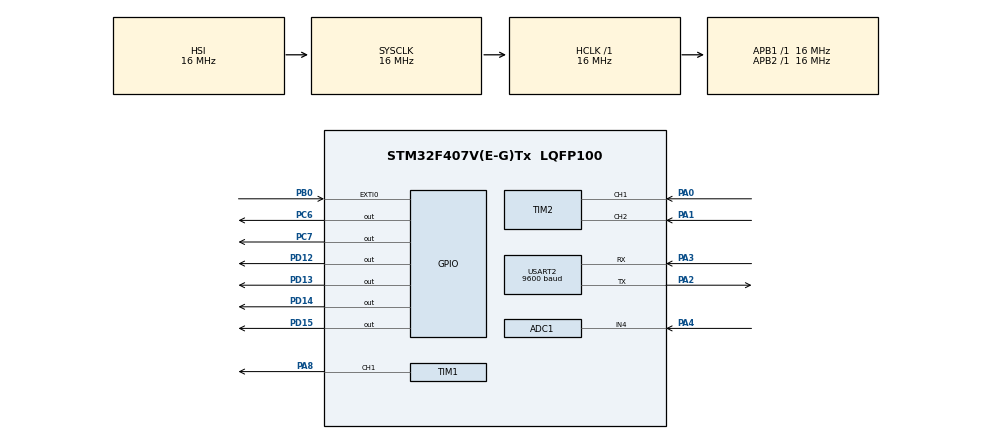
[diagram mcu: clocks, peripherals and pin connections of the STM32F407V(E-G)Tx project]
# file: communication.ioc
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ADC1.Channel-0\#ChannelRegularConversion=ADC_CHANNEL_4
ADC1.ContinuousConvMode=ENABLE
ADC1.NbrOfConversionFlag=1
ADC1.Rank-0\#ChannelRegularConversion=1
ADC1.SamplingTime-0\#ChannelRegularConversion=ADC_SAMPLETIME_144CYCLES
ADC1.master=1
Dma.Request0=USART2_RX
Dma.USART2_RX.0.Direction=DMA_PERIPH_TO_MEMORY
Dma.USART2_RX.0.FIFOMode=DMA_FIFOMODE_DISABLE
Dma.USART2_RX.0.Instance=DMA1_Stream5
Dma.USART2_RX.0.MemDataAlignment=DMA_MDATAALIGN_BYTE
Dma.USART2_RX.0.MemInc=DMA_MINC_ENABLE
Dma.USART2_RX.0.Mode=DMA_NORMAL
Dma.USART2_RX.0.PeriphDataAlignment=DMA_PDATAALIGN_BYTE
Dma.USART2_RX.0.PeriphInc=DMA_PINC_DISABLE
Dma.USART2_RX.0.Priority=DMA_PRIORITY_LOW
Mcu.Family=STM32F4
Mcu.Name=STM32F407V(E-G)Tx
Mcu.Package=LQFP100
NVIC.ADC_IRQn=true\:0\:0\:false\:false\:true\:true\:true\:true
NVIC.DMA1_Stream5_IRQn=true\:0\:0\:false\:false\:true\:false\:true\:true
NVIC.EXTI0_IRQn=true\:2\:0\:true\:false\:true\:true\:true\:true
NVIC.PriorityGroup=NVIC_PRIORITYGROUP_4
NVIC.TIM3_IRQn=true\:1\:0\:true\:false\:true\:true\:true\:true
NVIC.USART2_IRQn=true\:0\:0\:false\:false\:true\:true\:true\:true
PA0-WKUP.Signal=S_TIM2_CH1_ETR
PA1.Signal=S_TIM2_CH2
PA13.Mode=Serial_Wire
PA13.Signal=SYS_JTMS-SWDIO
PA14.Mode=Serial_Wire
PA14.Signal=SYS_JTCK-SWCLK
PA2.Mode=Asynchronous
PA2.Signal=USART2_TX
PA3.Mode=Asynchronous
PA3.Signal=USART2_RX
PA4.Signal=ADCx_IN4
PA8.Signal=S_TIM1_CH1
PB0.GPIO_ModeDefaultEXTI=GPIO_MODE_IT_FALLING
PB0.GPIO_PuPd=GPIO_PULLUP
PB0.Signal=GPXTI0
PC6.GPIO_PuPd=GPIO_PULLUP
PC6.Signal=GPIO_Output
PC7.GPIO_PuPd=GPIO_PULLDOWN
PC7.Signal=GPIO_Output
PD12.Signal=GPIO_Output
PD13.Signal=GPIO_Output
PD14.Signal=GPIO_Output
PD15.Signal=GPIO_Output
PH0-OSC_IN.Mode=HSE-External-Oscillator
PH0-OSC_IN.Signal=RCC_OSC_IN
PH1-OSC_OUT.Mode=HSE-External-Oscillator
PH1-OSC_OUT.Signal=RCC_OSC_OUT
ProjectManager.HeapSize=0x200
ProjectManager.StackSize=0x400
ProjectManager.TargetToolchain=MDK-ARM V5.32
RCC.AHBFreq_Value=16000000
RCC.APB1Freq_Value=16000000
RCC.APB2Freq_Value=16000000
RCC.CortexFreq_Value=16000000
RCC.HSE_VALUE=25000000
RCC.HSI_VALUE=16000000
RCC.LSE_VALUE=32768
RCC.SYSCLKFreq_VALUE=16000000
RCC.VCOOutputFreq_Value=192000000
SH.ADCx_IN4.0=ADC1_IN4,IN4
SH.S_TIM1_CH1.0=TIM1_CH1,PWM Generation1 CH1
SH.S_TIM2_CH1_ETR.0=TIM2_CH1,Encoder_Interface
SH.S_TIM2_CH2.0=TIM2_CH2,Encoder_Interface
TIM1.Channel-PWM\ Generation1\ CH1=TIM_CHANNEL_1
TIM1.Period=999
TIM1.Prescaler=159
TIM1.Pulse-PWM\ Generation1\ CH1=0
TIM2.EncoderMode=TIM_ENCODERMODE_TI12
TIM3.Period=999
TIM3.Prescaler=159
USART2.BaudRate=9600
USART2.VirtualMode=VM_ASYNC
VP_TIM1_VS_ClockSourceINT.Mode=Internal
VP_TIM3_VS_ClockSourceINT.Mode=Internal
board=custom

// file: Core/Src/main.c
/* USER CODE BEGIN Header */
/**
  ******************************************************************************
  * @file           : main.c
  * @brief          : Main program body
  ******************************************************************************
  * @attention
  *
  * Copyright (c) 2023 STMicroelectronics.
  * All rights reserved.
  *
  * This software is licensed under terms that can be found in the LICENSE file
  * in the root directory of this software component.
  * If no LICENSE file comes with this software, it is provided AS-IS.
  *
  ******************************************************************************
  */
/* USER CODE END Header */
#include "main.h"

/* USER CODE BEGIN Includes */
#include "stdlib.h"
#include "string.h"
#include "stdio.h"
#define STX 0x02
#define ETX 0x03

#define EMER 0x06

#define LED15 0X16
#define LED14 0X17
#define LED13 0X18
#define LED12 0X19

uint8_t receive[10] = {0}, transmit[10]= {0};

uint8_t msg[35] = {'\0'};
float data_float ;
uint8_t size = 0;

int16_t encoder_cnt = 0;

float direct = 0; /*0 : thuan ,1: nghich*/
float state =1; //0:on, 1:off

volatile uint16_t duty=0;
volatile uint8_t transmit_count;
//bien test

/* USER CODE END Includes */

ADC_HandleTypeDef hadc1;

TIM_HandleTypeDef htim1;
TIM_HandleTypeDef htim2;
TIM_HandleTypeDef htim3;

UART_HandleTypeDef huart2;
DMA_HandleTypeDef hdma_usart2_rx;

void SystemClock_Config(void);
static void MX_GPIO_Init(void);
static void MX_DMA_Init(void);
static void MX_TIM1_Init(void);
static void MX_TIM2_Init(void);
static void MX_USART2_UART_Init(void);
static void MX_TIM3_Init(void);
static void MX_ADC1_Init(void);
/* USER CODE BEGIN PFP */

void send_data(int CODE, float data)
{

	sprintf((char *)msg,"%3.1f",data);
	for(int i=0;i<sizeof(msg);i++)
  {
		if(msg[i]!=0x00)
		{
		transmit[i] = msg[i];
		}
	}

	HAL_UART_Transmit(&huart2, transmit, 8, 1000);

}
uint8_t data_bytes[4] ={0};
int len=0;
int temp =0;
uint8_t buffer[10] ={0};
void HAL_UARTEx_RxEventCallback(UART_HandleTypeDef *huart, uint16_t Size)
{

		if(huart->Instance== huart2.Instance)
		{

		HAL_UARTEx_ReceiveToIdle_DMA(&huart2, receive, 10);
		size = Size;

		len = strlen((char *)receive);
		int index=0;
		int position =0;
		for (int i=0; i < len; i++)
		{
			 if (receive[i] == ETX)
			{
				index ++;
				if (index == 1)
				{
				position = i;
				break;
				}
			}
		}

		for (int j=0; j<=position; j++)
		buffer[j]=receive[j];
		if(buffer[0]==STX & buffer[position]==ETX)
		{

			for (int j=0; j<=position-3;j++)
			data_bytes[j]=buffer[j+2];

			data_float = (float)atof((char *)data_bytes);

			switch (buffer[1])
			{
				case LED12:
				{
				if(data_float == 0)
				{
					HAL_GPIO_WritePin(GPIOD, GPIO_PIN_12, 0);
					break;
				}
				else
				{
					HAL_GPIO_WritePin(GPIOD, GPIO_PIN_12, 1);
					break;
				}
				}
				case LED13:
				{
				if(data_float == 0)
				{
					HAL_GPIO_WritePin(GPIOD, GPIO_PIN_13, 0);
					break;
				}
				else
				{
					HAL_GPIO_WritePin(GPIOD, GPIO_PIN_13, 1);
					break;
				}
				}
				case LED14:
				{
				if(data_float == 0)
				{
					HAL_GPIO_WritePin(GPIOD, GPIO_PIN_14, 0);
					break;
				}
				else
				{
					HAL_GPIO_WritePin(GPIOD, GPIO_PIN_14, 1);
					break;
				}
				}
				case LED15:
				{
				if(data_float == 0)
				{
					HAL_GPIO_WritePin(GPIOD, GPIO_PIN_15, 0);
					break;
				}
				else
				{
					HAL_GPIO_WritePin(GPIOD, GPIO_PIN_15, 1);
					break;
				}
				}
			}
		}
		if (temp%2==0)
		{
			HAL_UART_Transmit(&huart2, buffer, 8, 1000);
		}
		temp= ~temp;
		}

}
uint16_t adc_value = 0;
float voltage;
uint8_t data_voltage[20];
void HAL_TIM_PeriodElapsedCallback(TIM_HandleTypeDef *htim)
{
  if(htim->Instance== TIM3)
	{
		adc_value = HAL_ADC_GetValue(&hadc1);
		voltage = (float)adc_value/4095 * 3;
		sprintf(&data_voltage[0], "%4.2f", voltage);
		HAL_UART_Transmit(&huart2,&data_voltage[0], 8, 100);
	}
}

void HAL_GPIO_EXTI_Callback(uint16_t GPIO_Pin)
{
	uint8_t buffer[10] ={0};
	buffer[0] = EMER;
	HAL_UART_Transmit(&huart2, buffer, 8, 1000);
  //Chong rung phim
	for(int i = 100000; i>0; i--);

}

/* USER CODE END PFP */

int main(void)
{

  /* MCU Configuration--------------------------------------------------------*/

  /* Reset of all peripherals, Initializes the Flash interface and the Systick. */
  HAL_Init();

  /* Configure the system clock */
  SystemClock_Config();

  /* Initialize all configured peripherals */
  MX_GPIO_Init();
  MX_DMA_Init();
  MX_TIM1_Init();
  MX_TIM2_Init();
  MX_USART2_UART_Init();
  MX_TIM3_Init();
  MX_ADC1_Init();
  /* USER CODE BEGIN 2 */

	HAL_UARTEx_ReceiveToIdle_DMA(&huart2, receive, 10);
   __HAL_DMA_DISABLE_IT(&hdma_usart2_rx, DMA_IT_HT);

	HAL_TIM_Base_Start_IT(&htim3);

  /* USER CODE END 2 */

  /* Infinite loop */
  /* USER CODE BEGIN WHILE */
  while (1)
  {
		HAL_ADC_Start(&hadc1);
    /* USER CODE END WHILE */

  }
}

void HAL_ADC_ConvCpltCallback(ADC_HandleTypeDef* hadc)
{
	if(hadc->Instance == hadc1.Instance)
	{

	}
}

void SystemClock_Config(void)
{
  RCC_OscInitTypeDef RCC_OscInitStruct = {0};
  RCC_ClkInitTypeDef RCC_ClkInitStruct = {0};

  /** Configure the main internal regulator output voltage
  */
  __HAL_RCC_PWR_CLK_ENABLE();
  __HAL_PWR_VOLTAGESCALING_CONFIG(PWR_REGULATOR_VOLTAGE_SCALE1);

  /** Initializes the RCC Oscillators according to the specified parameters
  * in the RCC_OscInitTypeDef structure.
  */
  RCC_OscInitStruct.OscillatorType = RCC_OSCILLATORTYPE_HSI;
  RCC_OscInitStruct.HSIState = RCC_HSI_ON;
  RCC_OscInitStruct.HSICalibrationValue = RCC_HSICALIBRATION_DEFAULT;
  RCC_OscInitStruct.PLL.PLLState = RCC_PLL_NONE;
  if (HAL_RCC_OscConfig(&RCC_OscInitStruct) != HAL_OK)
  {
    Error_Handler();
  }

  /** Initializes the CPU, AHB and APB buses clocks
  */
  RCC_ClkInitStruct.ClockType = RCC_CLOCKTYPE_HCLK|RCC_CLOCKTYPE_SYSCLK
                              |RCC_CLOCKTYPE_PCLK1|RCC_CLOCKTYPE_PCLK2;
  RCC_ClkInitStruct.SYSCLKSource = RCC_SYSCLKSOURCE_HSI;
  RCC_ClkInitStruct.AHBCLKDivider = RCC_SYSCLK_DIV1;
  RCC_ClkInitStruct.APB1CLKDivider = RCC_HCLK_DIV1;
  RCC_ClkInitStruct.APB2CLKDivider = RCC_HCLK_DIV1;

  if (HAL_RCC_ClockConfig(&RCC_ClkInitStruct, FLASH_LATENCY_0) != HAL_OK)
  {
    Error_Handler();
  }
}

static void MX_ADC1_Init(void)
{

  ADC_ChannelConfTypeDef sConfig = {0};

  /** Configure the global features of the ADC (Clock, Resolution, Data Alignment and number of conversion)
  */
  hadc1.Instance = ADC1;
  hadc1.Init.ClockPrescaler = ADC_CLOCK_SYNC_PCLK_DIV2;
  hadc1.Init.Resolution = ADC_RESOLUTION_12B;
  hadc1.Init.ScanConvMode = DISABLE;
  hadc1.Init.ContinuousConvMode = ENABLE;
  hadc1.Init.DiscontinuousConvMode = DISABLE;
  hadc1.Init.ExternalTrigConvEdge = ADC_EXTERNALTRIGCONVEDGE_NONE;
  hadc1.Init.ExternalTrigConv = ADC_SOFTWARE_START;
  hadc1.Init.DataAlign = ADC_DATAALIGN_RIGHT;
  hadc1.Init.NbrOfConversion = 1;
  hadc1.Init.DMAContinuousRequests = DISABLE;
  hadc1.Init.EOCSelection = ADC_EOC_SINGLE_CONV;
  if (HAL_ADC_Init(&hadc1) != HAL_OK)
  {
    Error_Handler();
  }

  /** Configure for the selected ADC regular channel its corresponding rank in the sequencer and its sample time.
  */
  sConfig.Channel = ADC_CHANNEL_4;
  sConfig.Rank = 1;
  sConfig.SamplingTime = ADC_SAMPLETIME_144CYCLES;
  if (HAL_ADC_ConfigChannel(&hadc1, &sConfig) != HAL_OK)
  {
    Error_Handler();
  }

}

static void MX_TIM1_Init(void)
{

  TIM_ClockConfigTypeDef sClockSourceConfig = {0};
  TIM_MasterConfigTypeDef sMasterConfig = {0};
  TIM_OC_InitTypeDef sConfigOC = {0};
  TIM_BreakDeadTimeConfigTypeDef sBreakDeadTimeConfig = {0};

  htim1.Instance = TIM1;
  htim1.Init.Prescaler = 159;
  htim1.Init.CounterMode = TIM_COUNTERMODE_UP;
  htim1.Init.Period = 999;
  htim1.Init.ClockDivision = TIM_CLOCKDIVISION_DIV1;
  htim1.Init.RepetitionCounter = 0;
  htim1.Init.AutoReloadPreload = TIM_AUTORELOAD_PRELOAD_DISABLE;
  if (HAL_TIM_Base_Init(&htim1) != HAL_OK)
  {
    Error_Handler();
  }
  sClockSourceConfig.ClockSource = TIM_CLOCKSOURCE_INTERNAL;
  if (HAL_TIM_ConfigClockSource(&htim1, &sClockSourceConfig) != HAL_OK)
  {
    Error_Handler();
  }
  if (HAL_TIM_PWM_Init(&htim1) != HAL_OK)
  {
    Error_Handler();
  }
  sMasterConfig.MasterOutputTrigger = TIM_TRGO_RESET;
  sMasterConfig.MasterSlaveMode = TIM_MASTERSLAVEMODE_DISABLE;
  if (HAL_TIMEx_MasterConfigSynchronization(&htim1, &sMasterConfig) != HAL_OK)
  {
    Error_Handler();
  }
  sConfigOC.OCMode = TIM_OCMODE_PWM1;
  sConfigOC.Pulse = 0;
  sConfigOC.OCPolarity = TIM_OCPOLARITY_HIGH;
  sConfigOC.OCNPolarity = TIM_OCNPOLARITY_HIGH;
  sConfigOC.OCFastMode = TIM_OCFAST_DISABLE;
  sConfigOC.OCIdleState = TIM_OCIDLESTATE_RESET;
  sConfigOC.OCNIdleState = TIM_OCNIDLESTATE_RESET;
  if (HAL_TIM_PWM_ConfigChannel(&htim1, &sConfigOC, TIM_CHANNEL_1) != HAL_OK)
  {
    Error_Handler();
  }
  sBreakDeadTimeConfig.OffStateRunMode = TIM_OSSR_DISABLE;
  sBreakDeadTimeConfig.OffStateIDLEMode = TIM_OSSI_DISABLE;
  sBreakDeadTimeConfig.LockLevel = TIM_LOCKLEVEL_OFF;
  sBreakDeadTimeConfig.DeadTime = 0;
  sBreakDeadTimeConfig.BreakState = TIM_BREAK_DISABLE;
  sBreakDeadTimeConfig.BreakPolarity = TIM_BREAKPOLARITY_HIGH;
  sBreakDeadTimeConfig.AutomaticOutput = TIM_AUTOMATICOUTPUT_DISABLE;
  if (HAL_TIMEx_ConfigBreakDeadTime(&htim1, &sBreakDeadTimeConfig) != HAL_OK)
  {
    Error_Handler();
  }
  HAL_TIM_MspPostInit(&htim1);

}

static void MX_TIM2_Init(void)
{

  TIM_Encoder_InitTypeDef sConfig = {0};
  TIM_MasterConfigTypeDef sMasterConfig = {0};

  htim2.Instance = TIM2;
  htim2.Init.Prescaler = 0;
  htim2.Init.CounterMode = TIM_COUNTERMODE_UP;
  htim2.Init.Period = 4294967295;
  htim2.Init.ClockDivision = TIM_CLOCKDIVISION_DIV1;
  htim2.Init.AutoReloadPreload = TIM_AUTORELOAD_PRELOAD_DISABLE;
  sConfig.EncoderMode = TIM_ENCODERMODE_TI12;
  sConfig.IC1Polarity = TIM_ICPOLARITY_RISING;
  sConfig.IC1Selection = TIM_ICSELECTION_DIRECTTI;
  sConfig.IC1Prescaler = TIM_ICPSC_DIV1;
  sConfig.IC1Filter = 0;
  sConfig.IC2Polarity = TIM_ICPOLARITY_RISING;
  sConfig.IC2Selection = TIM_ICSELECTION_DIRECTTI;
  sConfig.IC2Prescaler = TIM_ICPSC_DIV1;
  sConfig.IC2Filter = 0;
  if (HAL_TIM_Encoder_Init(&htim2, &sConfig) != HAL_OK)
  {
    Error_Handler();
  }
  sMasterConfig.MasterOutputTrigger = TIM_TRGO_RESET;
  sMasterConfig.MasterSlaveMode = TIM_MASTERSLAVEMODE_DISABLE;
  if (HAL_TIMEx_MasterConfigSynchronization(&htim2, &sMasterConfig) != HAL_OK)
  {
    Error_Handler();
  }

}

static void MX_TIM3_Init(void)
{

  TIM_ClockConfigTypeDef sClockSourceConfig = {0};
  TIM_MasterConfigTypeDef sMasterConfig = {0};

  htim3.Instance = TIM3;
  htim3.Init.Prescaler = 1599;
  htim3.Init.CounterMode = TIM_COUNTERMODE_UP;
  htim3.Init.Period = 9999;
  htim3.Init.ClockDivision = TIM_CLOCKDIVISION_DIV1;
  htim3.Init.AutoReloadPreload = TIM_AUTORELOAD_PRELOAD_DISABLE;
  if (HAL_TIM_Base_Init(&htim3) != HAL_OK)
  {
    Error_Handler();
  }
  sClockSourceConfig.ClockSource = TIM_CLOCKSOURCE_INTERNAL;
  if (HAL_TIM_ConfigClockSource(&htim3, &sClockSourceConfig) != HAL_OK)
  {
    Error_Handler();
  }
  sMasterConfig.MasterOutputTrigger = TIM_TRGO_RESET;
  sMasterConfig.MasterSlaveMode = TIM_MASTERSLAVEMODE_DISABLE;
  if (HAL_TIMEx_MasterConfigSynchronization(&htim3, &sMasterConfig) != HAL_OK)
  {
    Error_Handler();
  }

}

static void MX_USART2_UART_Init(void)
{

  huart2.Instance = USART2;
  huart2.Init.BaudRate = 9600;
  huart2.Init.WordLength = UART_WORDLENGTH_8B;
  huart2.Init.StopBits = UART_STOPBITS_1;
  huart2.Init.Parity = UART_PARITY_NONE;
  huart2.Init.Mode = UART_MODE_TX_RX;
  huart2.Init.HwFlowCtl = UART_HWCONTROL_NONE;
  huart2.Init.OverSampling = UART_OVERSAMPLING_16;
  if (HAL_UART_Init(&huart2) != HAL_OK)
  {
    Error_Handler();
  }

}

static void MX_DMA_Init(void)
{

  /* DMA controller clock enable */
  __HAL_RCC_DMA1_CLK_ENABLE();

  /* DMA interrupt init */
  /* DMA1_Stream5_IRQn interrupt configuration */
  HAL_NVIC_SetPriority(DMA1_Stream5_IRQn, 0, 0);
  HAL_NVIC_EnableIRQ(DMA1_Stream5_IRQn);

}

static void MX_GPIO_Init(void)
{
  GPIO_InitTypeDef GPIO_InitStruct = {0};

  /* GPIO Ports Clock Enable */
  __HAL_RCC_GPIOH_CLK_ENABLE();
  __HAL_RCC_GPIOA_CLK_ENABLE();
  __HAL_RCC_GPIOB_CLK_ENABLE();
  __HAL_RCC_GPIOD_CLK_ENABLE();
  __HAL_RCC_GPIOC_CLK_ENABLE();

  /*Configure GPIO pin Output Level */
  HAL_GPIO_WritePin(GPIOD, GPIO_PIN_12|GPIO_PIN_13|GPIO_PIN_14|GPIO_PIN_15, GPIO_PIN_RESET);

  /*Configure GPIO pin Output Level */
  HAL_GPIO_WritePin(GPIOC, GPIO_PIN_6|GPIO_PIN_7, GPIO_PIN_RESET);

  /*Configure GPIO pin : PB0 */
  GPIO_InitStruct.Pin = GPIO_PIN_0;
  GPIO_InitStruct.Mode = GPIO_MODE_IT_FALLING;
  GPIO_InitStruct.Pull = GPIO_PULLUP;
  HAL_GPIO_Init(GPIOB, &GPIO_InitStruct);

  /*Configure GPIO pins : PD12 PD13 PD14 PD15 */
  GPIO_InitStruct.Pin = GPIO_PIN_12|GPIO_PIN_13|GPIO_PIN_14|GPIO_PIN_15;
  GPIO_InitStruct.Mode = GPIO_MODE_OUTPUT_PP;
  GPIO_InitStruct.Pull = GPIO_NOPULL;
  GPIO_InitStruct.Speed = GPIO_SPEED_FREQ_LOW;
  HAL_GPIO_Init(GPIOD, &GPIO_InitStruct);

  /*Configure GPIO pin : PC6 */
  GPIO_InitStruct.Pin = GPIO_PIN_6;
  GPIO_InitStruct.Mode = GPIO_MODE_OUTPUT_PP;
  GPIO_InitStruct.Pull = GPIO_PULLUP;
  GPIO_InitStruct.Speed = GPIO_SPEED_FREQ_LOW;
  HAL_GPIO_Init(GPIOC, &GPIO_InitStruct);

  /*Configure GPIO pin : PC7 */
  GPIO_InitStruct.Pin = GPIO_PIN_7;
  GPIO_InitStruct.Mode = GPIO_MODE_OUTPUT_PP;
  GPIO_InitStruct.Pull = GPIO_PULLDOWN;
  GPIO_InitStruct.Speed = GPIO_SPEED_FREQ_LOW;
  HAL_GPIO_Init(GPIOC, &GPIO_InitStruct);

  /* EXTI interrupt init*/
  HAL_NVIC_SetPriority(EXTI0_IRQn, 2, 0);
  HAL_NVIC_EnableIRQ(EXTI0_IRQn);

}

void Error_Handler(void)
{
  __disable_irq();
  while (1)
  {
  }
}
